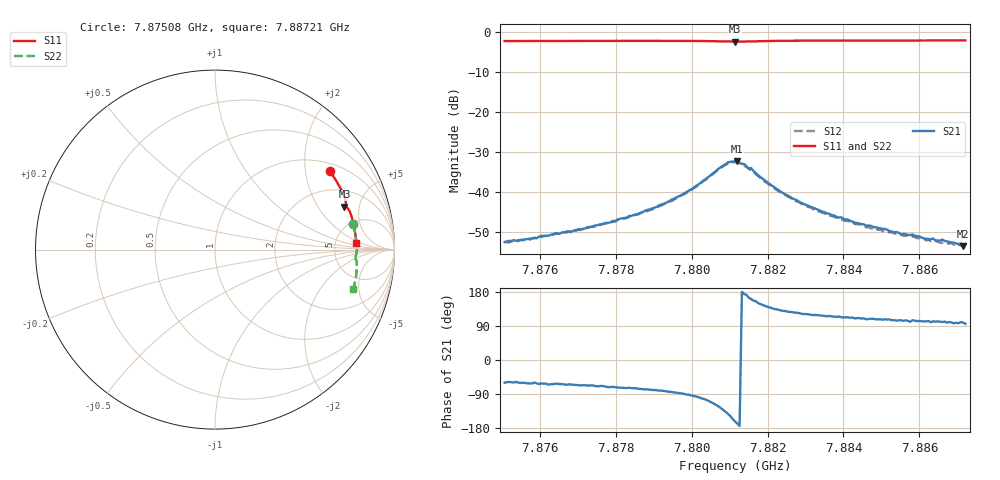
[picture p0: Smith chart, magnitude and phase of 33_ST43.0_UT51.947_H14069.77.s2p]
#  HZ  S  DB  R  50.00
! Rohde & Schwarz Vector Network Analyzer
! Rohde-Schwarz,ZNB20-2Port,1311601062101988,3.16
! Created: UTC 1/12/2023, 6:31:33 PM
! freq[Hz]  db:S11  ang:S11  db:S21  ang:S21  db:S12  ang:S12  db:S22  ang:S22
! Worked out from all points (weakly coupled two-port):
!   201 points, 7.87508 GHz to 7.88721 GHz, reference 50 ohm
!   highest |S21| = -32.28 dB at 7.88121 GHz (marker M1); lowest = -53.5 dB at 7.88715 GHz (marker M2)
!   lowest |S11| = -2.4 dB at 7.88114 GHz (marker M3), VSWR 7.33, Z = 157 + j177 ohm
!   |S11| at or under -10 dB: nowhere
!   |S22| runs from -2.3 to -1.9 dB; largest |S21 - S12| = 0.0019
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7.875079e9  -2.23 34.3  -52.57 -59.9  -52.49 -60.0  -2.14 10.3
7.875746e9  -2.21 32.5  -51.73 -61.6  -51.92 -63.2  -2.11 8.8
7.877141e9  -2.19 28.7  -49.28 -66.5  -49.15 -70.9  -2.08 5.5
7.87799e9  -2.18 26.4  -47.23 -71.9  -47.44 -74.8  -2.06 3.6
7.879143e9  -2.18 23.2  -43.35 -80.6  -43.61 -84.3  -2.04 0.8
7.880053e9  -2.20 20.5  -38.97 -94.8  -39.07 -98.0  -2.06 -1.5
7.880962e9  -2.36 18.4  -32.54 -142.7  -32.90 -146.6  -2.23 -3.3
7.881144e9  -2.38 18.4  -32.33 -162.1  -32.54 -164.8  -2.26 -3.2
7.881205e9  -2.38 18.4  -32.28 -167.6  -32.60 -171.3  -2.25 -3.2
7.881387e9  -2.34 18.3  -33.00 173.9  -33.37 171.2  -2.21 -3.1
7.881508e9  -2.30 18.2  -34.14 164.1  -34.16 161.6  -2.18 -3.2
7.881569e9  -2.28 18.1  -34.00 161.0  -34.60 157.5  -2.15 -3.3
7.881751e9  -2.24 17.6  -35.81 150.1  -35.97 147.2  -2.11 -3.7
7.882357e9  -2.16 15.8  -39.99 130.9  -40.18 127.9  -2.01 -5.1
7.883207e9  -2.12 13.4  -43.96 118.4  -44.37 116.4  -1.97 -7.2
7.884298e9  -2.10 10.5  -47.66 109.7  -48.00 107.5  -1.95 -9.7
7.885208e9  -2.09 8.0  -49.77 107.2  -50.08 103.0  -1.93 -11.7
7.886421e9  -2.08 4.9  -52.13 101.2  -52.22 100.7  -1.92 -14.4
7.886603e9  -2.08 4.4  -51.91 100.3  -52.68 96.4  -1.92 -14.7
7.887088e9  -2.07 3.1  -52.87 100.2  -53.40 94.5  -1.91 -15.7
7.887149e9  -2.07 3.0  -53.52 98.4  -53.47 93.2  -1.92 -15.9
7.88721e9  -2.07 2.8  -53.02 95.6  -53.56 95.1  -1.92 -16.1
